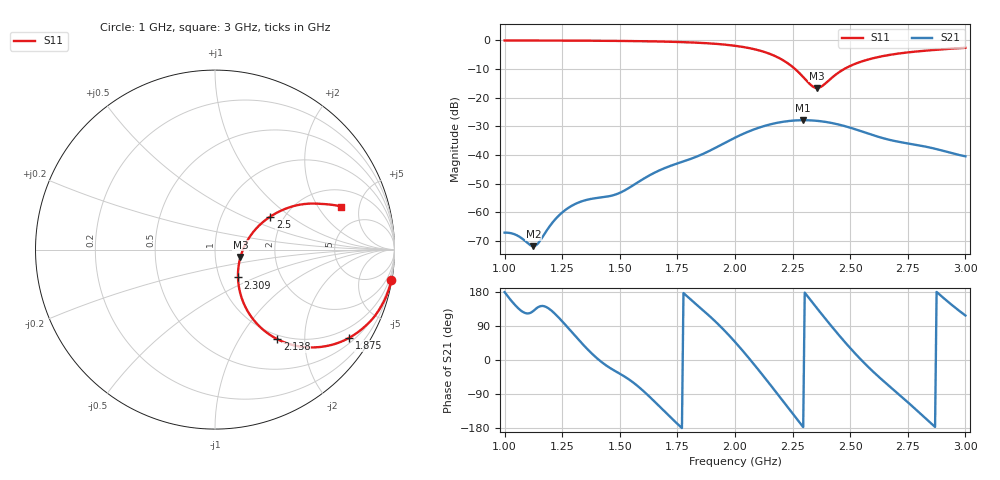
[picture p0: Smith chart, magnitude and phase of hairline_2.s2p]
! TOUCHSTONE file generated by CST MICROWAVE STUDIO
! Date and time: Tue Mar 18 20:31:35 2025
! Project name: hairline.cst
! Parameters = {B=12.5; D=160; F=15; Feed=2.85625; Fracture=1; L=100; M=30; R=0.384908; S=1.5; Theta=0; length=57.125; wave=114.25}
! Header version: 2024
! Port assignment regex: !\s*Touchstone port\s*([0-9]+)\s*=\s*(CST MWS port|CST DES external port|CST DES block port)\s*(.+)\s* \(\"(.*)\"\)(\s*mode\s*([0-9]+))?.*
! Touchstone port assignment:
! Touchstone port 1 = CST MWS port 1 ("")
! Touchstone port 2 = CST MWS port 2 ("")
# GHz S DB R 50
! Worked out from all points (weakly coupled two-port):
!   305 points, 1 GHz to 3 GHz, reference 50 ohm
!   highest |S21| = -27.85 dB at 2.296 GHz (marker M1); lowest = -71.8 dB at 1.125 GHz (marker M2)
!   lowest |S11| = -16.6 dB at 2.355 GHz (marker M3), VSWR 1.35, Z = 66.2 - j5.63 ohm
!   |S11| at or under -10 dB: 2.261 GHz to 2.474 GHz (212.9 MHz wide, 8.99 % of centre)
!   S12 and S22 are empty: the file has one direction only
!   S11 on the Smith chart (normalised r, x): 1 GHz: 0, -12; 1.875 GHz: 0.65, -3.21; 2.138 GHz: 0.93, -1.48; 2.309 GHz: 1.22, -0.39; 2.5 GHz: 1.70, +0.72; 3 GHz: 3.07, +3.28
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1  -0.02 -9.7  -67.11 179.1  -200.00 0.0  -200.00 0.0
1.05263  -0.03 -10.4  -67.99 140.4  -200.00 0.0  -200.00 0.0
1.125  -0.04 -11.5  -71.82 129.6  -200.00 0.0  -200.00 0.0
1.14474  -0.04 -11.8  -70.88 139.2  -200.00 0.0  -200.00 0.0
1.20395  -0.05 -12.7  -63.97 130.1  -200.00 0.0  -200.00 0.0
1.24342  -0.06 -13.4  -60.52 106.4  -200.00 0.0  -200.00 0.0
1.33553  -0.09 -15.1  -56.14 43.9  -200.00 0.0  -200.00 0.0
1.49342  -0.18 -18.6  -53.43 -33.9  -200.00 0.0  -200.00 0.0
1.67105  -0.38 -24.0  -45.40 -121.8  -200.00 0.0  -200.00 0.0
1.875  -0.97 -33.4  -39.11 123.9  -200.00 0.0  -200.00 0.0
2  -1.88 -42.3  -33.95 47.7  -200.00 0.0  -200.00 0.0
2.13816  -4.32 -55.2  -29.62 -53.7  -200.00 0.0  -200.00 0.0
2.22368  -7.69 -61.8  -28.23 -120.4  -200.00 0.0  -200.00 0.0
2.29605  -12.79 -55.3  -27.85 -177.1  -200.00 0.0  -200.00 0.0
2.30921  -13.94 -50.4  -27.86 172.6  -200.00 0.0  -200.00 0.0
2.33553  -15.97 -33.9  -27.94 152.2  -200.00 0.0  -200.00 0.0
2.35526  -16.61 -16.3  -28.07 137.0  -200.00 0.0  -200.00 0.0
2.38158  -15.74 5.6  -28.32 117.0  -200.00 0.0  -200.00 0.0
2.42763  -12.56 24.8  -28.96 82.6  -200.00 0.0  -200.00 0.0
2.5  -8.91 30.8  -30.46 31.5  -200.00 0.0  -200.00 0.0
2.67105  -5.06 27.0  -34.72 -69.7  -200.00 0.0  -200.00 0.0
3  -2.59 18.9  -40.46 117.4  -200.00 0.0  -200.00 0.0
